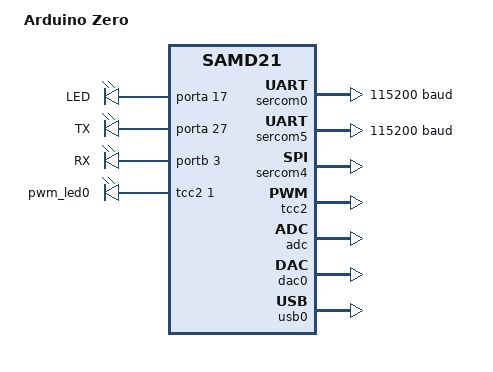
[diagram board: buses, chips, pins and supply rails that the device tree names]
/*
 * Copyright (c) 2017 Google LLC.
 *
 * SPDX-License-Identifier: Apache-2.0
 */

/dts-v1/;
#include <atmel/samd21.dtsi>
#include <atmel/samx2xx18.dtsi>
#include "arduino_zero-pinctrl.dtsi"

/ {
	model = "Arduino Zero";
	compatible = "arduino,zero", "atmel,samd21g18a", "atmel,samd21";

	chosen {
		zephyr,console = &sercom5;
		zephyr,shell-uart = &sercom5;
		zephyr,sram = &sram0;
		zephyr,flash = &flash0;
	};

	/* These aliases are provided for compatibility with samples */
	aliases {
		led0 = &led0;
		led1 = &led1;
		led2 = &led2;
		pwm-led0 = &pwm_led0;
	};

	leds {
		compatible = "gpio-leds";
		led0: led_0 {
			gpios = <&porta 17 0>;
			label = "LED";
		};
		led1: led_1 {
			gpios = <&porta 27 0>;
			label = "TX";
		};
		led2: led_2 {
			gpios = <&portb 3 0>;
			label = "RX";
		};
	};

	pwmleds {
		compatible = "pwm-leds";

		pwm_led0: pwm_led_0 {
			pwms = <&tcc2 1 PWM_MSEC(20)>;
		};
	};
};

&cpu0 {
	clock-frequency = <48000000>;
};

&sercom0 {
	status = "okay";
	compatible = "atmel,sam0-uart";
	current-speed = <115200>;
	rxpo = <3>;
	txpo = <1>;

	pinctrl-0 = <&sercom0_uart_default>;
	pinctrl-names = "default";
};

&sercom5 {
	status = "okay";
	compatible = "atmel,sam0-uart";
	current-speed = <115200>;
	rxpo = <3>;
	txpo = <1>;

	pinctrl-0 = <&sercom5_uart_default>;
	pinctrl-names = "default";
};

&sercom4 {
	status = "okay";
	compatible = "atmel,sam0-spi";
	dipo = <0>;
	dopo = <1>;
	#address-cells = <1>;
	#size-cells = <0>;

	pinctrl-0 = <&sercom4_spi_default>;
	pinctrl-names = "default";
};

&tcc2 {
	status = "okay";
	compatible = "atmel,sam0-tcc-pwm";
	/* Gives a maximum period of 1.4 s */
	prescaler = <1024>;
	#pwm-cells = <2>;

	pinctrl-0 = <&pwm_default>;
	pinctrl-names = "default";
};

&adc {
	status = "okay";

	pinctrl-0 = <&adc_default>;
	pinctrl-names = "default";
};

&dac0 {
	status = "okay";

	pinctrl-0 = <&dac_default>;
	pinctrl-names = "default";
};

&flash0 {
	partitions {
		compatible = "fixed-partitions";
		#address-cells = <1>;
		#size-cells = <1>;

		/*
		 * The final 16 KiB is reserved for the application.
		 * Storage partition will be used by FCB/LittleFS/NVS
		 * if enabled.
		 */
		storage_partition: partition@3c000 {
			label = "storage";
			reg = <0x0003c000 0x00004000>;
		};
	};
};

zephyr_udc0: &usb0 {
	status = "okay";

	pinctrl-0 = <&usb_dc_default>;
	pinctrl-names = "default";
};
